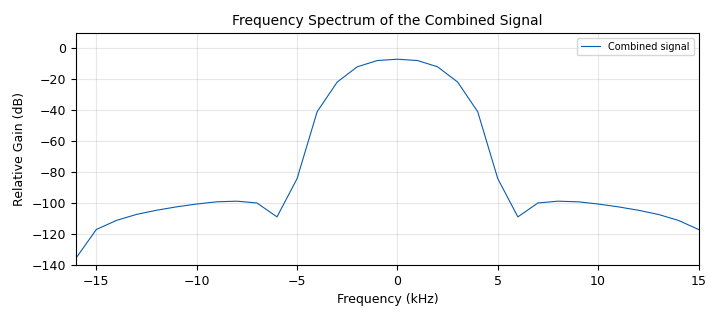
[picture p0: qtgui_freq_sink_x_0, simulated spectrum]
options:
  parameters:
    author: Dhrubjun
    generate_options: qt_gui
    id: exp1
    output_language: python
    title: FFT Frequency Resolution
  states: {}

blocks:
- name: samp_rate
  id: variable
  parameters:
    value: '32000'
  states: {}
- name: analog_sig_source_x_0
  id: analog_sig_source_x
  parameters:
    amp: '1'
    freq: '1000'
    offset: '0'
    phase: '0'
    samp_rate: samp_rate
    type: float
    waveform: analog.GR_COS_WAVE
  states: {}
- name: analog_sig_source_x_0_1
  id: analog_sig_source_x
  parameters:
    amp: '1'
    freq: '1100'
    offset: '0'
    phase: '0'
    samp_rate: samp_rate
    type: float
    waveform: analog.GR_COS_WAVE
  states: {}
- name: blocks_add_xx_0
  id: blocks_add_xx
  parameters:
    type: float
  states: {}
- name: blocks_throttle2_0
  id: blocks_throttle2
  parameters:
    samples_per_second: samp_rate
    type: float
  states: {}
- name: qtgui_freq_sink_x_0
  id: qtgui_freq_sink_x
  parameters:
    bw: samp_rate
    color1: '"red"'
    fc: '0'
    fftsize: '32'
    grid: 'True'
    label1: Combined signal
    name: Frequency Spectrum of the Combined Signal
    type: float
  states: {}

connections:
- [analog_sig_source_x_0, '0', blocks_add_xx_0, '0']
- [analog_sig_source_x_0_1, '0', blocks_add_xx_0, '1']
- [blocks_add_xx_0, '0', blocks_throttle2_0, '0']
- [blocks_throttle2_0, '0', qtgui_freq_sink_x_0, '0']

metadata:
  file_format: 1
  grc_version: 3.10.12.0
